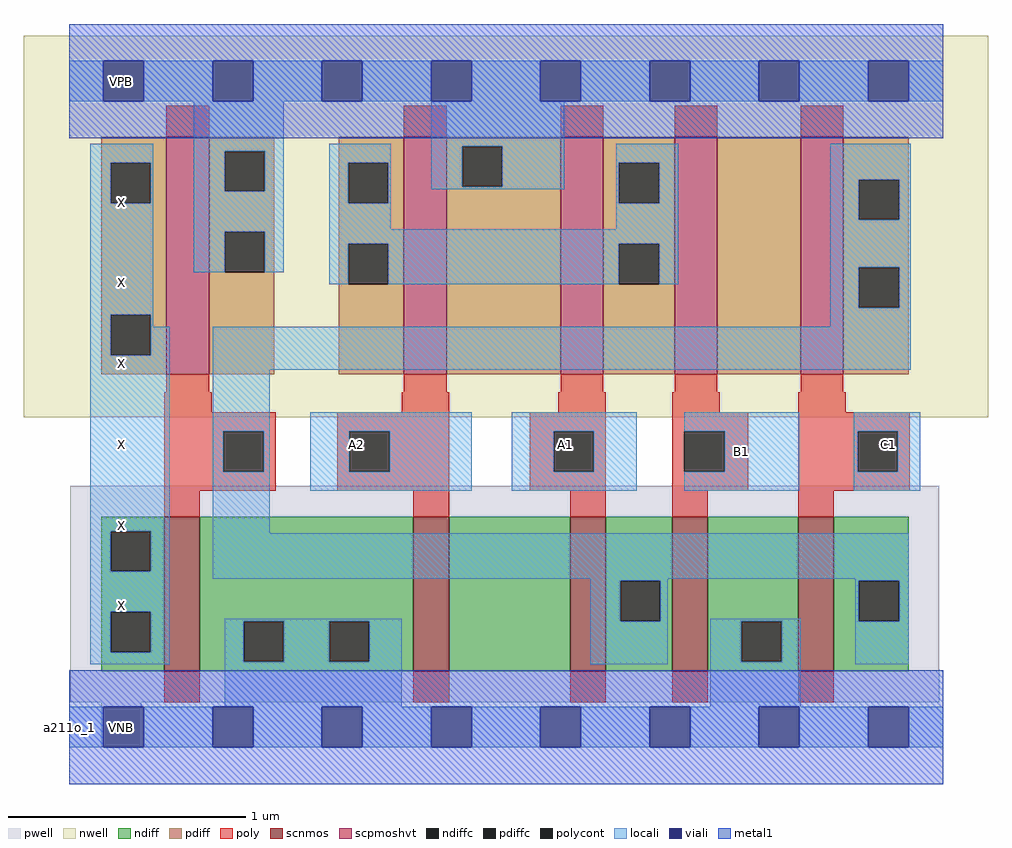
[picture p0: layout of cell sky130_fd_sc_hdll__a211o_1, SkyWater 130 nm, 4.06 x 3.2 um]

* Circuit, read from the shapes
.subckt sky130_fd_sc_hdll__a211o_1 A1 A2 B1 C1 VGND VNB VPB VPWR X
XM1 VGND n1 X VNB sky130_fd_pr__nfet_01v8 w=0.65 l=0.15
XM2 n2 A2 VGND VNB sky130_fd_pr__nfet_01v8 w=0.65 l=0.15
XM3 n1 A1 n2 VNB sky130_fd_pr__nfet_01v8 w=0.65 l=0.15
XM4 VGND B1 n1 VNB sky130_fd_pr__nfet_01v8 w=0.65 l=0.15
XM5 n1 C1 VGND VNB sky130_fd_pr__nfet_01v8 w=0.65 l=0.15
XM6 VPWR n1 X VPB sky130_fd_pr__pfet_01v8_hvt w=1 l=0.18
XM7 VPWR A2 n3 VPB sky130_fd_pr__pfet_01v8_hvt w=1 l=0.18
XM8 n3 A1 VPWR VPB sky130_fd_pr__pfet_01v8_hvt w=1 l=0.18
XM9 n4 B1 n3 VPB sky130_fd_pr__pfet_01v8_hvt w=1 l=0.18
XM10 n1 C1 n4 VPB sky130_fd_pr__pfet_01v8_hvt w=1 l=0.18
.ends

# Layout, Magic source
magic
tech sky130A
magscale 1 2
<< nwell >>
rect -38 261 774 582
<< pwell >>
rect 1 21 733 203
rect 27 -17 61 21
<< scnmos >>
rect 80 47 110 177
rect 290 47 320 177
rect 422 47 452 177
rect 508 47 538 177
rect 614 47 644 177
<< scpmoshvt >>
rect 82 297 118 497
rect 282 297 318 497
rect 414 297 450 497
rect 510 297 546 497
rect 616 297 652 497
<< ndiff >>
rect 27 165 80 177
rect 27 131 35 165
rect 69 131 80 165
rect 27 97 80 131
rect 27 63 35 97
rect 69 63 80 97
rect 27 47 80 63
rect 110 89 290 177
rect 110 55 147 89
rect 181 55 219 89
rect 253 55 290 89
rect 110 47 290 55
rect 320 47 422 177
rect 452 123 508 177
rect 452 89 464 123
rect 498 89 508 123
rect 452 47 508 89
rect 538 89 614 177
rect 538 55 566 89
rect 600 55 614 89
rect 538 47 614 55
rect 644 123 707 177
rect 644 89 665 123
rect 699 89 707 123
rect 644 47 707 89
<< pdiff >>
rect 27 475 82 497
rect 27 441 35 475
rect 69 441 82 475
rect 27 347 82 441
rect 27 313 35 347
rect 69 313 82 347
rect 27 297 82 313
rect 118 485 173 497
rect 118 451 131 485
rect 165 451 173 485
rect 118 417 173 451
rect 118 383 131 417
rect 165 383 173 417
rect 118 297 173 383
rect 227 475 282 497
rect 227 441 235 475
rect 269 441 282 475
rect 227 407 282 441
rect 227 373 235 407
rect 269 373 282 407
rect 227 297 282 373
rect 318 489 414 497
rect 318 455 331 489
rect 365 455 414 489
rect 318 297 414 455
rect 450 475 510 497
rect 450 441 463 475
rect 497 441 510 475
rect 450 407 510 441
rect 450 373 463 407
rect 497 373 510 407
rect 450 297 510 373
rect 546 297 616 497
rect 652 461 707 497
rect 652 427 665 461
rect 699 427 707 461
rect 652 387 707 427
rect 652 353 665 387
rect 699 353 707 387
rect 652 297 707 353
<< ndiffc >>
rect 35 131 69 165
rect 35 63 69 97
rect 147 55 181 89
rect 219 55 253 89
rect 464 89 498 123
rect 566 55 600 89
rect 665 89 699 123
<< pdiffc >>
rect 35 441 69 475
rect 35 313 69 347
rect 131 451 165 485
rect 131 383 165 417
rect 235 441 269 475
rect 235 373 269 407
rect 331 455 365 489
rect 463 441 497 475
rect 463 373 497 407
rect 665 427 699 461
rect 665 353 699 387
<< poly >>
rect 82 497 118 523
rect 282 497 318 523
rect 414 497 450 523
rect 510 497 546 523
rect 616 497 652 523
rect 82 282 118 297
rect 282 282 318 297
rect 414 282 450 297
rect 510 282 546 297
rect 616 282 652 297
rect 80 265 120 282
rect 280 265 320 282
rect 412 265 452 282
rect 80 249 174 265
rect 80 215 130 249
rect 164 215 174 249
rect 80 199 174 215
rect 226 249 320 265
rect 226 215 236 249
rect 270 215 320 249
rect 226 199 320 215
rect 388 249 452 265
rect 388 215 408 249
rect 442 215 452 249
rect 388 199 452 215
rect 80 177 110 199
rect 290 177 320 199
rect 422 177 452 199
rect 508 265 548 282
rect 614 265 654 282
rect 508 249 572 265
rect 508 215 518 249
rect 552 215 572 249
rect 508 199 572 215
rect 614 249 708 265
rect 614 215 664 249
rect 698 215 708 249
rect 614 199 708 215
rect 508 177 538 199
rect 614 177 644 199
rect 80 21 110 47
rect 290 21 320 47
rect 422 21 452 47
rect 508 21 538 47
rect 614 21 644 47
<< polycont >>
rect 130 215 164 249
rect 236 215 270 249
rect 408 215 442 249
rect 518 215 552 249
rect 664 215 698 249
<< locali >>
rect 0 527 29 561
rect 63 527 121 561
rect 155 527 213 561
rect 247 527 305 561
rect 339 527 397 561
rect 431 527 489 561
rect 523 527 581 561
rect 615 527 673 561
rect 707 527 736 561
rect 18 475 71 491
rect 18 441 35 475
rect 69 441 71 475
rect 18 347 71 441
rect 105 485 181 527
rect 105 451 131 485
rect 165 451 181 485
rect 105 417 181 451
rect 105 383 131 417
rect 165 383 181 417
rect 219 475 271 491
rect 219 441 235 475
rect 269 441 271 475
rect 305 489 417 527
rect 305 455 331 489
rect 365 455 417 489
rect 305 453 417 455
rect 461 475 513 491
rect 219 419 271 441
rect 461 441 463 475
rect 497 441 513 475
rect 461 419 513 441
rect 219 407 513 419
rect 219 373 235 407
rect 269 373 463 407
rect 497 373 513 407
rect 641 461 709 491
rect 641 427 665 461
rect 699 427 709 461
rect 641 387 709 427
rect 18 313 35 347
rect 69 337 71 347
rect 641 353 665 387
rect 699 353 709 387
rect 641 337 709 353
rect 69 313 85 337
rect 18 165 85 313
rect 18 131 35 165
rect 69 131 85 165
rect 18 97 85 131
rect 121 301 709 337
rect 121 249 169 301
rect 121 215 130 249
rect 164 215 169 249
rect 121 163 169 215
rect 203 249 339 265
rect 203 215 236 249
rect 270 215 339 249
rect 203 199 339 215
rect 373 249 478 265
rect 373 215 408 249
rect 442 215 478 249
rect 373 199 478 215
rect 518 249 615 265
rect 552 215 615 249
rect 518 199 615 215
rect 661 249 717 265
rect 661 215 664 249
rect 698 215 717 249
rect 661 199 717 215
rect 121 125 707 163
rect 18 63 35 97
rect 69 63 85 97
rect 439 123 504 125
rect 18 53 85 63
rect 131 89 280 91
rect 131 55 147 89
rect 181 55 219 89
rect 253 55 280 89
rect 131 17 280 55
rect 439 89 464 123
rect 498 89 504 123
rect 662 123 707 125
rect 439 53 504 89
rect 540 89 616 91
rect 540 55 566 89
rect 600 55 616 89
rect 540 17 616 55
rect 662 89 665 123
rect 699 89 707 123
rect 662 53 707 89
rect 0 -17 29 17
rect 63 -17 121 17
rect 155 -17 213 17
rect 247 -17 305 17
rect 339 -17 397 17
rect 431 -17 489 17
rect 523 -17 581 17
rect 615 -17 673 17
rect 707 -17 736 17
<< viali >>
rect 29 527 63 561
rect 121 527 155 561
rect 213 527 247 561
rect 305 527 339 561
rect 397 527 431 561
rect 489 527 523 561
rect 581 527 615 561
rect 673 527 707 561
rect 29 -17 63 17
rect 121 -17 155 17
rect 213 -17 247 17
rect 305 -17 339 17
rect 397 -17 431 17
rect 489 -17 523 17
rect 581 -17 615 17
rect 673 -17 707 17
<< metal1 >>
rect 0 561 736 592
rect 0 527 29 561
rect 63 527 121 561
rect 155 527 213 561
rect 247 527 305 561
rect 339 527 397 561
rect 431 527 489 561
rect 523 527 581 561
rect 615 527 673 561
rect 707 527 736 561
rect 0 496 736 527
rect 0 17 736 48
rect 0 -17 29 17
rect 63 -17 121 17
rect 155 -17 213 17
rect 247 -17 305 17
rect 339 -17 397 17
rect 431 -17 489 17
rect 523 -17 581 17
rect 615 -17 673 17
rect 707 -17 736 17
rect 0 -48 736 -17
<< labels >>
flabel pwell s 27 -17 61 17 0 FreeSans 200 0 0 0 VNB
port 6 nsew ground bidirectional
flabel nwell s 27 527 61 561 0 FreeSans 200 0 0 0 VPB
port 7 nsew power bidirectional
flabel metal1 s 27 -17 61 17 0 FreeSans 200 0 0 0 VGND
port 5 nsew ground bidirectional
flabel metal1 s 27 527 61 561 0 FreeSans 200 0 0 0 VPWR
port 8 nsew power bidirectional
flabel locali s 27 425 61 459 0 FreeSans 200 0 0 0 X
port 9 nsew signal output
flabel locali s 27 85 61 119 0 FreeSans 200 0 0 0 X
port 9 nsew signal output
flabel locali s 225 221 259 255 0 FreeSans 200 0 0 0 A2
port 2 nsew signal input
flabel locali s 27 357 61 391 0 FreeSans 200 0 0 0 X
port 9 nsew signal output
flabel locali s 518 199 615 265 0 FreeSans 200 0 0 0 B1
port 3 nsew signal input
flabel locali s 27 221 61 255 0 FreeSans 200 0 0 0 X
port 9 nsew signal output
flabel locali s 401 221 435 255 0 FreeSans 200 0 0 0 A1
port 1 nsew signal input
flabel locali s 27 153 61 187 0 FreeSans 200 0 0 0 X
port 9 nsew signal output
flabel locali s 27 289 61 323 0 FreeSans 200 0 0 0 X
port 9 nsew signal output
flabel locali s 673 221 707 255 0 FreeSans 200 0 0 0 C1
port 4 nsew signal input
rlabel comment s 0 0 0 0 4 a211o_1
<< properties >>
string LEFsite unithd
string LEFclass CORE
string FIXED_BBOX 0 0 736 544
string GDS_FILE $PDKPATH/libs.ref/sky130_fd_sc_hdll/gds/sky130_fd_sc_hdll.gds
string LEFsymmetry X Y R90
string GDS_END 868410
string GDS_START 861744
string LEFproperties maskLayoutSubType "abstract" prCellType "standard" originalViewName "layout"
<< end >>
